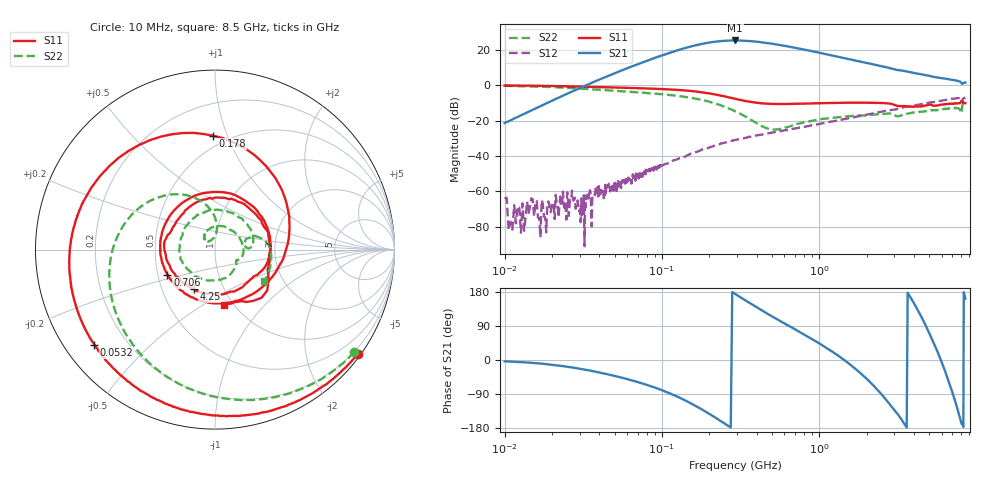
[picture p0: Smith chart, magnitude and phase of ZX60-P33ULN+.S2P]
!Created: 01-29-2015 at 11:57:58
!Mini-Circuits Laboratories
!S-parameters
!MODEL: ZX60-P33ULN+
!S/N: Unit 1
# MHZ S DB R 50
!Frequency  S11 dB  S11 DEG  S21 dB  S21 DEG  S12 dB  S12 DEG  S22 dB  S22 DEG
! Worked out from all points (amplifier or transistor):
!   601 points, 10 MHz to 8.5 GHz, reference 50 ohm
!   highest |S21| = 25.3 dB at 292 MHz (marker M1)
!   |S21| within 3 dB of that: 159.2 MHz to 600.8 MHz (441.5 MHz wide, 116 % of centre)
!   unconditionally stable (mu >= 1): start of sweep to end of sweep
!   at 40 MHz: K = 30.51, MAG = 13.6 dB, |S12| = -59.7 dB
!   at 100 MHz: K = 3.71, MAG = 22.5 dB, |S12| = -45.4 dB
!   at 8.5 GHz: K = 1.04, MAG = 3.1 dB, |S12| = -7.0 dB
!   S11 on the Smith chart (normalised r, x): 10 MHz: 0.08, -3.08; 53.2 MHz: 0.09, -0.34; 178 MHz: 0.42, +0.89; 706 MHz: 0.56, -0.17; 4.25 GHz: 0.72, -0.34; 8.5 GHz: 0.91, -0.61
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10  -0.13 -36.0  -21.39 -3.4  -64.16 134.5  -0.32 -36.4
31  -0.79 -98.0  -1.04 -24.0  -73.49 -172.6  -1.93 -96.2
53.2  -1.34 -141.8  7.73 -44.7  -55.96 175.8  -3.29 -136.1
94.9  -2.08 164.8  16.15 -76.1  -45.99 155.4  -4.92 179.1
130  -2.73 131.0  20.15 -99.6  -41.13 139.6  -6.17 153.8
178  -3.95 90.9  23.29 -129.5  -36.49 121.4  -8.21 127.6
238  -5.87 45.5  24.96 -161.8  -32.88 105.4  -11.39 103.9
292  -7.63 8.6  25.30 174.5  -30.86 93.3  -14.68 90.7
370  -9.47 -38.1  24.89 147.5  -29.03 77.3  -19.72 84.8
448  -10.34 -76.0  24.07 126.8  -27.53 66.1  -23.81 97.6
550  -10.60 -113.5  22.88 105.6  -26.18 53.8  -24.89 124.6
706  -10.44 -152.1  21.11 80.3  -24.35 38.9  -22.19 134.5
898  -10.27 175.0  19.25 55.6  -22.67 22.4  -20.18 126.4
1250  -10.00 131.7  16.53 18.2  -20.24 -4.8  -18.31 101.8
1750  -9.83 82.8  13.72 -27.8  -17.60 -42.6  -17.18 65.4
2250  -10.00 38.7  11.63 -70.5  -15.68 -80.3  -16.56 33.5
2800  -10.38 -9.3  9.71 -116.3  -14.13 -121.7  -15.99 -6.8
3500  -11.82 -62.0  7.99 -170.4  -12.41 -171.6  -16.54 -43.2
4250  -12.07 -118.6  6.48 130.4  -11.02 133.0  -15.30 -95.3
5850  -11.14 120.8  4.19 6.5  -8.93 14.5  -13.84 149.7
7050  -10.46 37.2  3.00 -87.3  -7.63 -75.4  -12.95 63.5
8500  -10.16 -80.9  1.45 161.8  -6.98 178.5  -9.79 -33.0
